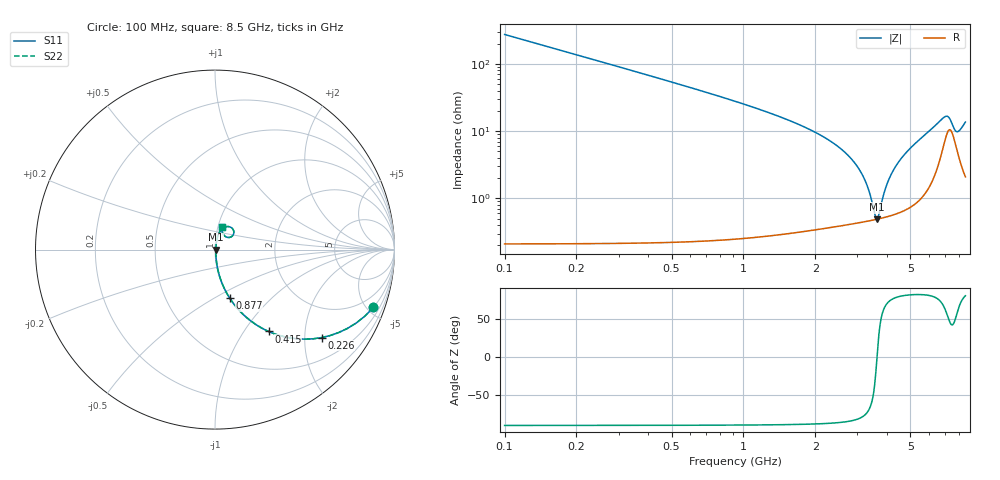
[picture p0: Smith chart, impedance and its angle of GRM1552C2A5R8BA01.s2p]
!Murata Part Number: GRM1552C2A5R8BA01
!These Parameters are Measured in Series Mode Connection
!Data Generated on Mar 30, 2021
!  o--ll--o
!Port1  Port2
!  o------o
!Operation Temp=25[degC], DC Bias Voltage=0[V]
!Freq. Start=100[MHz] Stop=9[GHz] 401[Steps]
# Hz S RI R 50
!Freq.(Hz) S11(Real) S11(Imag) S21(Real) S21(Imag) S12(Real) S12(Imag) S22(Real) S22(Imag)
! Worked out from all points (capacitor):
!   401 points, 100 MHz to 8.5 GHz, reference 50 ohm
!   read as one part in series: C = 5.8 pF near 142 MHz
!   lowest |Z| = 491 mohm at 3.628 GHz (marker M1)
!   series resonance near 3.625 GHz, so ESL is about 330 pH
!   S11 on the Smith chart (normalised r, x): 100 MHz: 1.00, -5.48; 226 MHz: 1.00, -2.42; 415 MHz: 1.00, -1.31; 877 MHz: 1.00, -0.59; 8.5 GHz: 1.04, +0.27
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1e8  0.8824 -0.3217  0.1176 0.3217  0.1176 0.3217  0.8824 -0.3217
2.26e8  0.5938 -0.4902  0.4062 0.4902  0.4062 0.4902  0.5938 -0.4902
4.15e8  0.2993 -0.4563  0.7007 0.4563  0.7007 0.4563  0.2993 -0.4563
6.04e8  0.1646 -0.3682  0.8354 0.3682  0.8354 0.3682  0.1646 -0.3682
8.77e8  0.0818 -0.27  0.9182 0.27  0.9182 0.27  0.0818 -0.27
1.507e9  0.0251 -0.1468  0.9749 0.1468  0.9749 0.1468  0.0251 -0.1468
2.41e9  0.00783 -0.0635  0.9922 0.0635  0.9922 0.0635  0.00783 -0.0635
2.914e9  0.00534 -0.0337  0.9947 0.0337  0.9947 0.0337  0.00534 -0.0337
3.25e9  0.0048 -0.0169  0.9952 0.0169  0.9952 0.0169  0.0048 -0.0169
3.397e9  0.00475 -0.0101  0.9952 0.0101  0.9952 0.0101  0.00475 -0.0101
3.565e9  0.00482 -0.00258  0.9952 0.00258  0.9952 0.00258  0.00482 -0.00258
3.628e9  0.00488 0.000151  0.9951 -0.000151  0.9951 -0.000151  0.00488 0.000151
3.691e9  0.00496 0.00284  0.995 -0.00284  0.995 -0.00284  0.00496 0.00284
3.838e9  0.0052 0.009  0.9948 -0.009  0.9948 -0.009  0.0052 0.009
3.964e9  0.00547 0.0142  0.9945 -0.0142  0.9945 -0.0142  0.00547 0.0142
4.3e9  0.0065 0.0275  0.9935 -0.0275  0.9935 -0.0275  0.0065 0.0275
4.867e9  0.00938 0.0493  0.9906 -0.0493  0.9906 -0.0493  0.00938 0.0493
5.707e9  0.0181 0.0828  0.9819 -0.0828  0.9819 -0.0828  0.0181 0.0828
6.736e9  0.06 0.1272  0.94 -0.1272  0.94 -0.1272  0.06 0.1272
7.114e9  0.0983 0.1155  0.9017 -0.1155  0.9017 -0.1155  0.0983 0.1155
7.807e9  0.0578 0.073  0.9422 -0.073  0.9422 -0.073  0.0578 0.073
8.5e9  0.0373 0.1272  0.9627 -0.1272  0.9627 -0.1272  0.0373 0.1272
